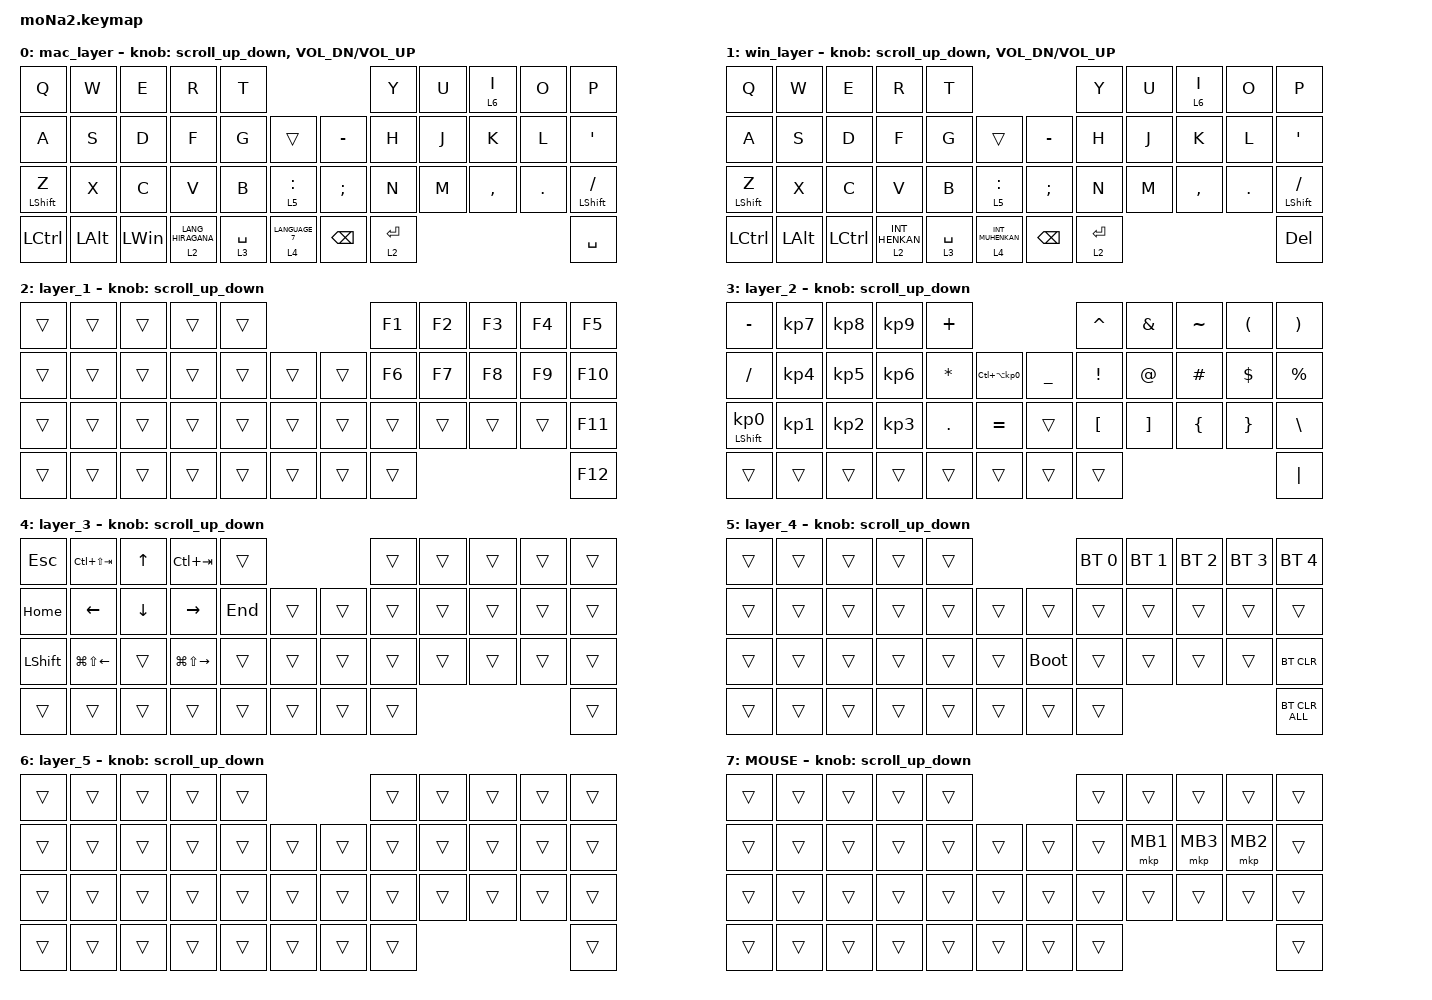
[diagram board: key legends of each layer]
#include <behaviors.dtsi>
#include <dt-bindings/zmk/bt.h>
#include <dt-bindings/zmk/keys.h>
#include <dt-bindings/zmk/pointing.h>

#define ZMK_POINTING_DEFAULT_SCRL_VAL 100
#define MOUSE 6

&mt {
    flavor = "balanced";
    quick-tap-ms = <0>;
};

/ {
    combos { compatible = "zmk,combos"; };

    macros {
        to_layer_0: to_layer_0 {
            compatible = "zmk,behavior-macro-one-param";
            #binding-cells = <1>;
            bindings = <&to 0 &macro_param_1to1 &kp MACRO_PLACEHOLDER>;
            label = "TO_LAYER_0";
        };
    };

    behaviors {
        lt_to_layer_0: lt_to_layer_0 {
            compatible = "zmk,behavior-hold-tap";
            label = "LAYER_TAP_TO_0";
            bindings = <&mo>, <&to_layer_0>;

            #binding-cells = <2>;
            tapping-term-ms = <200>;
        };

        scroll_up_down: behavior_sensor_rotate_mouse_wheel_up_down {
            compatible = "zmk,behavior-sensor-rotate";
            #sensor-binding-cells = <0>;
            bindings = <&msc SCRL_UP>, <&msc SCRL_DOWN>;

            tap-ms = <20>;
        };

        tog_on: toggle_layer_on_only {
            compatible = "zmk,behavior-toggle-layer";
            #binding-cells = <1>;
            display-name = "Toggle Layer On";
            toggle-mode = "on";
        };

        tog_off: toggle_layer_off_only {
            compatible = "zmk,behavior-toggle-layer";
            #binding-cells = <1>;
            display-name = "Toggle Layer Off";
            toggle-mode = "off";
        };
    };

    keymap {
        compatible = "zmk,keymap";

        mac_layer {
            bindings = <
&kp Q             &kp W         &kp E         &kp R                &kp T                                           &kp Y        &kp U  &lt 6 I    &kp O    &kp P
&kp A             &kp S         &kp D         &kp F                &kp G        &trans              &kp MINUS      &kp H        &kp J  &kp K      &kp L    &kp SQT
&mt LEFT_SHIFT Z  &kp X         &kp C         &kp V                &kp B        &lt 5 COLON         &kp SEMICOLON  &kp N        &kp M  &kp COMMA  &kp DOT  &mt LEFT_SHIFT SLASH
&kp LCTRL         &kp LEFT_ALT  &kp LEFT_WIN  &lt 2 LANG_HIRAGANA  &lt 3 SPACE  &lt 4 LANGUAGE_7    &kp BACKSPACE  &lt 2 ENTER                             &kp SPACE
            >;

            sensor-bindings =
                <&scroll_up_down>,
                <&inc_dec_kp C_VOL_DN C_VOL_UP>;
        };

        win_layer {
            bindings = <
&kp Q             &kp W         &kp E      &kp R             &kp T                                             &kp Y        &kp U  &lt 6 I    &kp O    &kp P
&kp A             &kp S         &kp D      &kp F             &kp G        &trans                &kp MINUS      &kp H        &kp J  &kp K      &kp L    &kp SQT
&mt LEFT_SHIFT Z  &kp X         &kp C      &kp V             &kp B        &lt 5 COLON           &kp SEMICOLON  &kp N        &kp M  &kp COMMA  &kp DOT  &mt LEFT_SHIFT SLASH
&kp LCTRL         &kp LEFT_ALT  &kp LCTRL  &lt 2 INT_HENKAN  &lt 3 SPACE  &lt 4 INT_MUHENKAN    &kp BACKSPACE  &lt 2 ENTER                             &kp DEL
            >;

            sensor-bindings =
                <&scroll_up_down>,
                <&inc_dec_kp C_VOL_DN C_VOL_UP>;
        };

        layer_1 {
            bindings = <
&trans  &trans  &trans  &trans  &trans                    &kp F1  &kp F2  &kp F3  &kp F4  &kp F5
&trans  &trans  &trans  &trans  &trans  &trans    &trans  &kp F6  &kp F7  &kp F8  &kp F9  &kp F10
&trans  &trans  &trans  &trans  &trans  &trans    &trans  &trans  &trans  &trans  &trans  &kp F11
&trans  &trans  &trans  &trans  &trans  &trans    &trans  &trans                          &kp F12
            >;

            sensor-bindings = <&scroll_up_down>;
        };

        layer_2 {
            bindings = <
&kp MINUS                   &kp KP_NUMBER_7  &kp KP_NUMBER_8  &kp KP_NUMBER_9  &kp PLUS                                                 &kp CARET         &kp AMPERSAND      &kp TILDE       &kp LEFT_PARENTHESIS  &kp RIGHT_PARENTHESIS
&kp SLASH                   &kp KP_NUMBER_4  &kp KP_NUMBER_5  &kp KP_NUMBER_6  &kp ASTERISK  &kp LC(LA(KP_NUMBER_0))    &kp UNDERSCORE  &kp EXCLAMATION   &kp AT_SIGN        &kp HASH        &kp DOLLAR            &kp PERCENT
&mt LEFT_SHIFT KP_NUMBER_0  &kp KP_NUMBER_1  &kp KP_NUMBER_2  &kp KP_NUMBER_3  &kp PERIOD    &kp EQUAL                  &trans          &kp LEFT_BRACKET  &kp RIGHT_BRACKET  &kp LEFT_BRACE  &kp RIGHT_BRACE       &kp BACKSLASH
&trans                      &trans           &trans           &trans           &trans        &trans                     &trans          &trans                                                                     &kp PIPE
            >;

            sensor-bindings = <&scroll_up_down>;
        };

        layer_3 {
            bindings = <
&kp ESCAPE      &kp LC(LS(TAB))         &kp UP_ARROW    &kp LC(TAB)              &trans                     &trans  &trans  &trans  &trans  &trans
&kp HOME        &kp LEFT_ARROW          &kp DOWN_ARROW  &kp RIGHT_ARROW          &kp END  &trans    &trans  &trans  &trans  &trans  &trans  &trans
&kp LEFT_SHIFT  &kp LG(LS(LEFT_ARROW))  &trans          &kp LG(LS(RIGHT_ARROW))  &trans   &trans    &trans  &trans  &trans  &trans  &trans  &trans
&trans          &trans                  &trans          &trans                   &trans   &trans    &trans  &trans                          &trans
            >;

            sensor-bindings = <&scroll_up_down>;
        };

        layer_4 {
            bindings = <
&trans  &trans  &trans  &trans  &trans                         &bt BT_SEL 0  &bt BT_SEL 1  &bt BT_SEL 2  &bt BT_SEL 3  &bt BT_SEL 4
&trans  &trans  &trans  &trans  &trans  &trans    &trans       &trans        &trans        &trans        &trans        &trans
&trans  &trans  &trans  &trans  &trans  &trans    &bootloader  &trans        &trans        &trans        &trans        &bt BT_CLR
&trans  &trans  &trans  &trans  &trans  &trans    &trans       &trans                                                  &bt BT_CLR_ALL
            >;

            sensor-bindings = <&scroll_up_down>;
        };

        layer_5 {
            bindings = <
&trans  &trans  &trans  &trans  &trans                    &trans  &trans  &trans  &trans  &trans
&trans  &trans  &trans  &trans  &trans  &trans    &trans  &trans  &trans  &trans  &trans  &trans
&trans  &trans  &trans  &trans  &trans  &trans    &trans  &trans  &trans  &trans  &trans  &trans
&trans  &trans  &trans  &trans  &trans  &trans    &trans  &trans                          &trans
            >;

            sensor-bindings = <&scroll_up_down>;
        };

        MOUSE {
            bindings = <
&trans  &trans  &trans  &trans  &trans                    &trans  &trans    &trans    &trans    &trans
&trans  &trans  &trans  &trans  &trans  &trans    &trans  &trans  &mkp MB1  &mkp MB3  &mkp MB2  &trans
&trans  &trans  &trans  &trans  &trans  &trans    &trans  &trans  &trans    &trans    &trans    &trans
&trans  &trans  &trans  &trans  &trans  &trans    &trans  &trans                                &trans
            >;

            sensor-bindings = <&scroll_up_down>;
        };
    };
};
